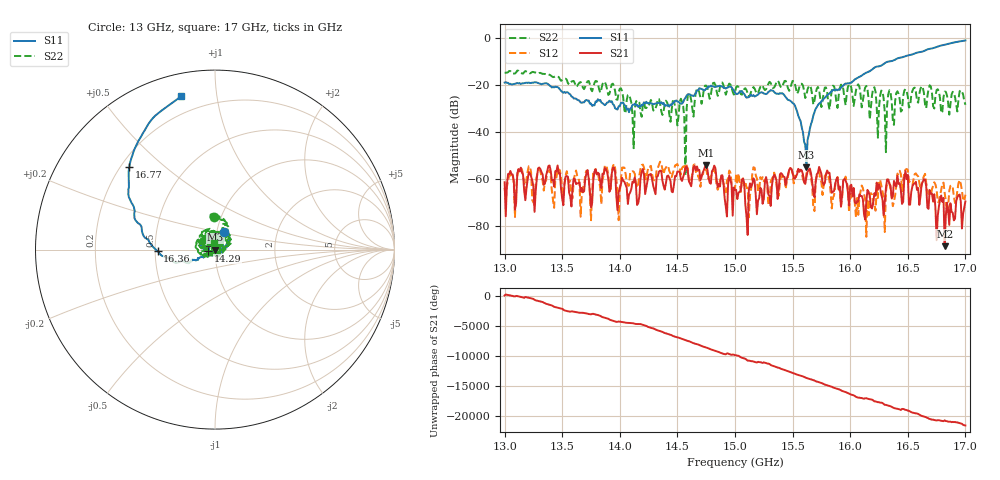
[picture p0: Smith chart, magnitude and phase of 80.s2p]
!Keysight Technologies,P9374A,MY57211807,A.19.30.04
!Date: Friday, May 01, 2026 14:25:11
!Correction: S11(C  2-Port  )
!S21(C  2-Port  )
!S12(C  2-Port  )
!S22(C  2-Port  )
!S2P File: Measurements: S11, S21, S12, S22:
# Hz S  RI  R 50
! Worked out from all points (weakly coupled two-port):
!   401 points, 13 GHz to 17 GHz, reference 50 ohm
!   highest |S21| = -54.18 dB at 14.75 GHz (marker M1); lowest = -88.6 dB at 16.82 GHz (marker M2)
!   lowest |S11| = -55.1 dB at 15.62 GHz (marker M3), VSWR 1.00, Z = 50.1 - j0.092 ohm
!   |S11| at or under -10 dB: start of sweep to 16.35 GHz
!   |S22| runs from -58.6 to -14.0 dB; largest |S21 - S12| = 0.0013
!   S11 on the Smith chart (normalised r, x): 13 GHz: 1.08, +0.22; 14.29 GHz: 0.93, -0.01; 16.36 GHz: 0.52, -0.01; 16.77 GHz: 0.23, +0.38; 17 GHz: 0.11, +0.80
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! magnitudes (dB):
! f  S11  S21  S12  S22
! 13 GHz  -19.1  -61.4  -63.8  -14.9
! 13.14 GHz  -19.7  -55.2  -55.4  -14.9
! 13.67 GHz  -27.7  -63.8  -66.3  -19.6
! 13.79 GHz  -27.1  -56.0  -55.8  -18.4
! 13.95 GHz  -28.7  -55.2  -53.6  -20.6
! 13.99 GHz  -29.2  -65.6  -77.6  -23.3
! 14.03 GHz  -27.7  -60.8  -55.2  -25.5
! 14.29 GHz  -28.3  -62.9  -60.3  -30.9
! 14.34 GHz  -27.7  -56.9  -53.9  -26.0
! 14.56 GHz  -26.3  -57.6  -55.0  -34.1
! 14.75 GHz  -21.6  -54.2  -55.8  -20.4
! 15 GHz  -23.3  -64.8  -64.2  -22.9
! 15.42 GHz  -23.9  -59.0  -59.6  -19.6
! 15.62 GHz  -55.1  -59.1  -57.8  -24.5
! 15.67 GHz  -35.2  -61.1  -62.9  -24.4
! 16.12 GHz  -15.4  -75.0  -66.3  -23.3
! 16.34 GHz  -10.1  -62.1  -61.6  -22.3
! 16.36 GHz  -9.9  -68.2  -67.4  -27.0
! 16.48 GHz  -7.8  -56.7  -56.1  -21.9
! 16.77 GHz  -3.6  -71.7  -69.8  -22.8
! 16.82 GHz  -3.0  -88.6  -66.0  -22.9
! 17 GHz  -1.2  -69.6  -66.7  -28.5
